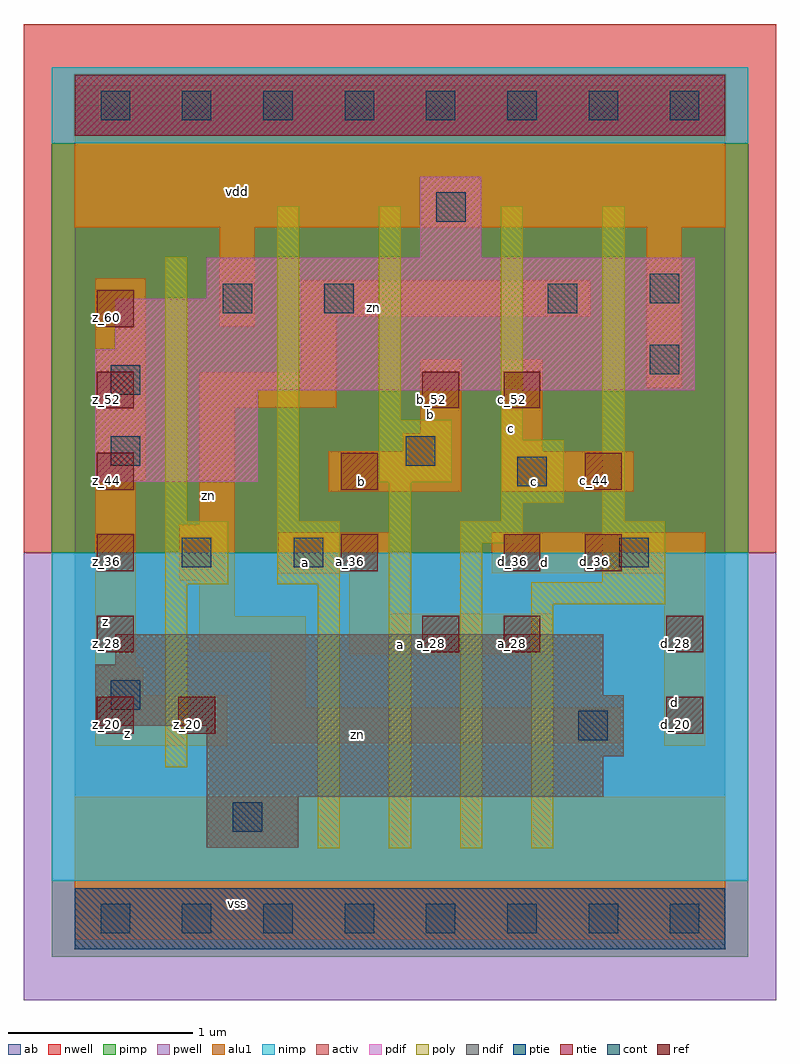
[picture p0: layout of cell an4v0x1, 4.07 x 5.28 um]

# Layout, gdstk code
import gdstk
lib = gdstk.Library(unit=1e-6, precision=2.5e-09)
def R(c, l, rs):  # rectangles x0, y0, x1, y1
    for r in rs: c.add(gdstk.rectangle(r[:2], r[2:], *l))
def A(c, l, x, y, w, h, nx, ny, dx, dy):  # array of equal rectangles
    R(c, l, [(x+i*dx, y+j*dy, x+i*dx+w, y+j*dy+h) for i in range(nx) for j in range(ny)])
ndif = (3, 0)
pdif = (4, 0)
ntie = (5, 0)
ptie = (6, 0)
ref = (24, 0)
cont = (25, 0)
pwell = (41, 0)
nwell = (42, 0)
activ = (43, 0)
pimp = (44, 0)
nimp = (45, 0)
poly = (46, 0)
alu1 = (49, 0)
ab = (63, 0)

an4v0x1 = lib.new_cell('an4v0x1')
R(an4v0x1, ndif, [(0.715,0.385,1.21,0.66), (0.715,0.66,2.86,0.88), (0.715,0.88,2.97,1.045), (0.11,1.045,2.97,1.21), (0.11,1.21,2.86,1.375), (0.22,1.375,2.86,1.54)])
R(an4v0x1, pdif, [(0.11,2.365,0.99,2.86), (0.11,2.86,3.355,3.08), (0.22,3.08,3.355,3.355), (0.715,3.355,3.355,3.575), (1.87,3.575,2.2,4.015)])
R(an4v0x1, ntie, [(0,4.235,3.52,4.565)])
R(an4v0x1, ptie, [(0,-0.165,3.52,0.165)])
A(an4v0x1, ref, 0.12, 1, 0.2, 0.2, 1, 3, 0, 0.44)
A(an4v0x1, ref, 0.12, 2.32, 0.2, 0.2, 3, 1, 1.32, 0)
R(an4v0x1, ref, [(0.56,1,0.76,1.2), (3.2,1,3.4,1.2), (1.88,1.44,2.08,1.64), (2.32,1.44,2.52,1.64), (3.2,1.44,3.4,1.64), (1.44,1.88,1.64,2.08), (2.32,1.88,2.52,2.08), (2.76,1.88,2.96,2.08), (0.12,2.76,0.32,2.96), (1.88,2.76,2.08,2.96), (2.32,2.76,2.52,2.96), (0.12,3.2,0.32,3.4)])
A(an4v0x1, cont, 0.14, -0.08, 0.16, 0.16, 8, 2, 0.44, 4.4)
R(an4v0x1, cont, [(0.855,0.47,1.015,0.63), (2.725,0.965,2.885,1.125), (0.195,1.13,0.355,1.29), (0.58,1.9,0.74,2.06), (1.185,1.9,1.345,2.06), (2.945,1.9,3.105,2.06), (2.395,2.34,2.555,2.5), (0.195,2.45,0.355,2.61), (1.79,2.45,1.95,2.61), (0.195,2.835,0.355,2.995), (3.11,2.945,3.27,3.105), (0.8,3.275,0.96,3.435), (1.35,3.275,1.51,3.435), (2.56,3.275,2.72,3.435), (3.11,3.33,3.27,3.49), (1.955,3.77,2.115,3.93)])
R(an4v0x1, pwell, [(-0.275,-0.44,3.795,1.98)])
R(an4v0x1, nwell, [(-0.275,1.98,3.795,4.84)])
R(an4v0x1, activ, [(0,-0.165,3.52,0.165), (0.715,0.385,1.21,0.66), (0.715,0.66,2.86,0.88), (0.715,0.88,2.97,1.045), (0.11,1.045,2.97,1.21), (0.11,1.21,2.86,1.375), (0.22,1.375,2.86,1.54), (0.11,2.365,0.99,2.86), (0.11,2.86,3.355,3.08), (0.22,3.08,3.355,3.355), (0.715,3.355,3.355,3.575), (1.87,3.575,2.2,4.015), (0,4.235,3.52,4.565)])
R(an4v0x1, pimp, [(-0.125,-0.205,3.645,0.205), (-0.125,1.98,3.645,4.195)])
R(an4v0x1, nimp, [(-0.125,0.205,3.645,1.98), (-0.125,4.195,3.645,4.605)])
R(an4v0x1, poly, [(1.315,0.38,1.435,1.81), (1.7,0.38,1.82,2.36), (2.085,0.38,2.205,2.03), (2.47,0.38,2.59,1.7), (0.49,0.82,0.61,1.81), (2.47,1.7,3.195,1.82), (0.49,1.81,0.83,2.15), (1.095,1.81,1.435,2.15), (2.855,1.82,3.195,2.15), (2.085,2.03,2.425,2.15), (0.49,2.15,0.61,3.58), (1.095,2.15,1.215,3.855), (2.305,2.15,2.425,2.25), (2.855,2.15,2.975,3.855), (2.305,2.25,2.645,2.59), (1.645,2.36,2.04,2.7), (2.305,2.59,2.425,3.855), (1.645,2.7,1.765,3.855)])
R(an4v0x1, alu1, [(0,-0.11,3.52,0.66), (0.11,0.935,0.825,1.21), (3.19,0.935,3.41,1.87), (1.06,0.95,2.955,1.14), (1.06,1.14,1.25,1.445), (0.11,1.21,0.37,1.36), (0.11,1.36,0.33,2.365), (1.485,1.43,2.585,1.65), (0.675,1.445,1.25,1.635), (0.675,1.635,0.865,1.83), (1.485,1.65,1.705,1.87), (0.565,1.83,0.865,2.13), (1.1,1.87,1.705,2.09), (2.255,1.87,3.41,2.09), (0.675,2.13,0.865,2.765), (1.375,2.31,2.09,2.53), (2.31,2.31,3.025,2.53), (0.11,2.365,0.385,3.465), (1.775,2.53,2.09,2.625), (2.31,2.53,2.53,3.025), (1.87,2.625,2.09,3.025), (0.675,2.765,1.415,2.955), (3.095,2.875,3.285,3.74), (1.225,2.955,1.415,3.26), (0.785,3.205,0.975,3.74), (1.225,3.26,2.79,3.45), (0,3.74,3.52,4.51)])
R(an4v0x1, ab, [(0,0,3.52,4.4)])
an4v0x1.add(gdstk.Label('vss', (0.88,0.0825), layer=49, texttype=0))
an4v0x1.add(gdstk.Label('d', (3.245,1.1675), layer=49, texttype=0))
an4v0x1.add(gdstk.Label('zn', (1.5325,0.9975), layer=49, texttype=0))
an4v0x1.add(gdstk.Label('a', (1.76,1.485), layer=49, texttype=0))
an4v0x1.add(gdstk.Label('z', (0.2875,1.0025), layer=49, texttype=0))
an4v0x1.add(gdstk.Label('d', (2.5425,1.925), layer=49, texttype=0))
an4v0x1.add(gdstk.Label('a', (1.25,1.925), layer=49, texttype=0))
an4v0x1.add(gdstk.Label('c', (2.4875,2.365), layer=49, texttype=0))
an4v0x1.add(gdstk.Label('c', (2.365,2.6525), layer=49, texttype=0))
an4v0x1.add(gdstk.Label('b', (1.5525,2.365), layer=49, texttype=0))
an4v0x1.add(gdstk.Label('b', (1.925,2.725), layer=49, texttype=0))
an4v0x1.add(gdstk.Label('zn', (0.7225,2.2875), layer=49, texttype=0))
an4v0x1.add(gdstk.Label('z', (0.165,1.61), layer=49, texttype=0))
an4v0x1.add(gdstk.Label('zn', (1.615,3.3075), layer=49, texttype=0))
an4v0x1.add(gdstk.Label('vdd', (0.88,3.9325), layer=49, texttype=0))
an4v0x1.add(gdstk.Label('z_20', (0.61,1.05), layer=24, texttype=0))
an4v0x1.add(gdstk.Label('a_36', (1.49,1.93), layer=24, texttype=0))
an4v0x1.add(gdstk.Label('b_44', (1.49,2.37), layer=24, texttype=0))
an4v0x1.add(gdstk.Label('a_28', (1.93,1.49), layer=24, texttype=0))
an4v0x1.add(gdstk.Label('b_52', (1.93,2.81), layer=24, texttype=0))
an4v0x1.add(gdstk.Label('z_20', (0.17,1.05), layer=24, texttype=0))
an4v0x1.add(gdstk.Label('z_28', (0.17,1.49), layer=24, texttype=0))
an4v0x1.add(gdstk.Label('z_36', (0.17,1.93), layer=24, texttype=0))
an4v0x1.add(gdstk.Label('z_44', (0.17,2.37), layer=24, texttype=0))
an4v0x1.add(gdstk.Label('z_52', (0.17,2.81), layer=24, texttype=0))
an4v0x1.add(gdstk.Label('z_60', (0.17,3.25), layer=24, texttype=0))
an4v0x1.add(gdstk.Label('a_28', (2.37,1.49), layer=24, texttype=0))
an4v0x1.add(gdstk.Label('d_36', (2.37,1.93), layer=24, texttype=0))
an4v0x1.add(gdstk.Label('c_52', (2.37,2.81), layer=24, texttype=0))
an4v0x1.add(gdstk.Label('d_36', (2.81,1.93), layer=24, texttype=0))
an4v0x1.add(gdstk.Label('c_44', (2.81,2.37), layer=24, texttype=0))
an4v0x1.add(gdstk.Label('d_20', (3.25,1.05), layer=24, texttype=0))
an4v0x1.add(gdstk.Label('d_28', (3.25,1.49), layer=24, texttype=0))

lib.write_gds('an4v0x1.gds')
